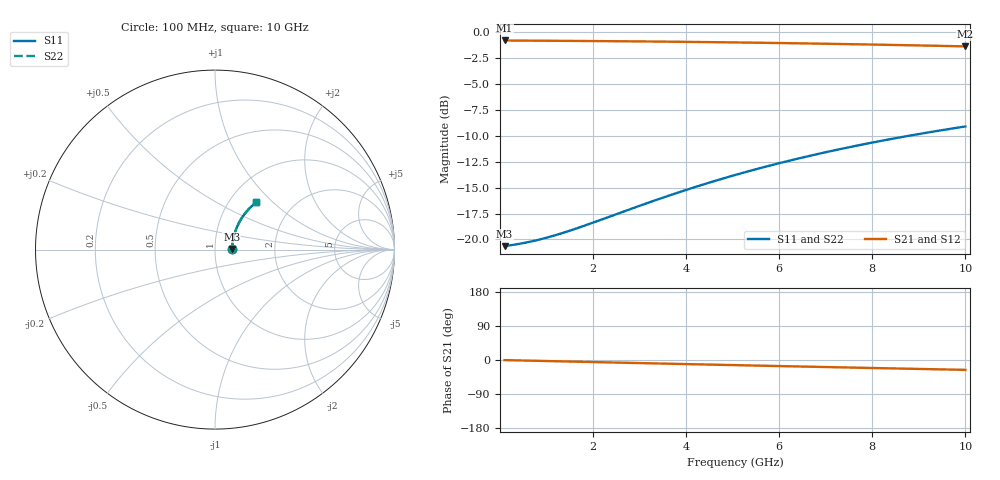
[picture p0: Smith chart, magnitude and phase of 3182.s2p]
# Hz S RI R 50.00
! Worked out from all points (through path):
!   100 points, 100 MHz to 10 GHz, reference 50 ohm
!   highest |S21| = -0.85 dB at 100 MHz (marker M1); lowest = -1.4 dB at 10 GHz (marker M2)
!   group delay of S21, straight-line fit = 7.24 ps
!   lowest |S11| = -20.6 dB at 100 MHz (marker M3), VSWR 1.20, Z = 60.2 + j0.392 ohm
!   |S11| at or under -10 dB: start of sweep to 8.811 GHz
!   |S22| runs from -20.6 to -9.1 dB; largest |S21 - S12| = 0
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1e8  0.0928 0.00322  0.9072 -0.00431  0.9072 -0.00431  0.0928 0.00322
5e8  0.0947 0.016  0.9053 -0.0215  0.9053 -0.0215  0.0947 0.016
7e8  0.0955 0.0224  0.9044 -0.03  0.9044 -0.03  0.0955 0.0224
9e8  0.0964 0.0288  0.9035 -0.0385  0.9035 -0.0385  0.0964 0.0288
1.1e9  0.0973 0.0351  0.9026 -0.0471  0.9026 -0.0471  0.0973 0.0351
1.3e9  0.0983 0.0414  0.9016 -0.0555  0.9016 -0.0555  0.0983 0.0414
1.8e9  0.1012 0.0571  0.8986 -0.0766  0.8986 -0.0766  0.1012 0.0571
2.6e9  0.1072 0.0818  0.8924 -0.11  0.8924 -0.11  0.1072 0.0818
3.4e9  0.1148 0.1059  0.8845 -0.1428  0.8845 -0.1428  0.1148 0.1059
3.9e9  0.1203 0.1205  0.8787 -0.1628  0.8787 -0.1628  0.1203 0.1205
4.3e9  0.1253 0.132  0.8736 -0.1787  0.8736 -0.1787  0.1253 0.132
4.7e9  0.1306 0.1432  0.868 -0.1942  0.868 -0.1942  0.1306 0.1432
5.1e9  0.1362 0.1542  0.8621 -0.2096  0.8621 -0.2096  0.1362 0.1542
5.5e9  0.1423 0.1649  0.8558 -0.2246  0.8558 -0.2246  0.1423 0.1649
5.9e9  0.1486 0.1753  0.8492 -0.2394  0.8492 -0.2394  0.1486 0.1753
6.3e9  0.1554 0.1854  0.8421 -0.2539  0.8421 -0.2539  0.1554 0.1854
6.7e9  0.1624 0.1952  0.8348 -0.2681  0.8348 -0.2681  0.1624 0.1952
7.5e9  0.1773 0.2139  0.8191 -0.2955  0.8191 -0.2955  0.1773 0.2139
7.9e9  0.1852 0.2227  0.8109 -0.3088  0.8109 -0.3088  0.1852 0.2227
8.4e9  0.1954 0.2333  0.8002 -0.3248  0.8002 -0.3248  0.1954 0.2333
9.2e9  0.2124 0.2491  0.7822 -0.3494  0.7822 -0.3494  0.2124 0.2491
1e10  0.2302 0.2634  0.7635 -0.3725  0.7635 -0.3725  0.2302 0.2634
